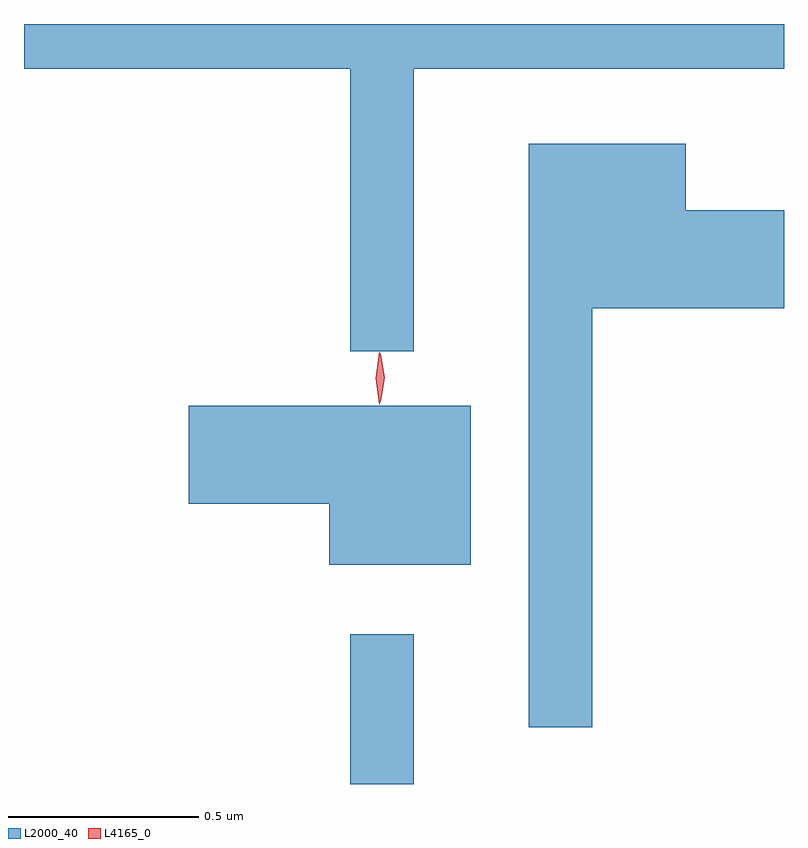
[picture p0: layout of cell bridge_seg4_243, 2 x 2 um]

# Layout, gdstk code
import gdstk
lib = gdstk.Library(unit=1e-6, precision=1e-09)
def R(c, l, rs):  # rectangles x0, y0, x1, y1
    for r in rs: c.add(gdstk.rectangle(r[:2], r[2:], *l))
def P(c, l, *ps):  # polygons
    for p in ps: c.add(gdstk.Polygon(p, *l))
L2000_40 = (2000, 40)
L4165_0 = (4165, 0)

bridge_seg4_243 = lib.new_cell('bridge_seg4_243')
R(bridge_seg4_243, L2000_40, [(742.601,1379.434,742.769,1379.828)])
P(bridge_seg4_243, L2000_40, [(742.769,1381.316),(743.743,1381.316),(743.743,1381.434),(741.743,1381.434),(741.743,1381.316),(742.601,1381.316),(742.601,1380.573),(742.769,1380.573)],
  [(743.239,1380.686),(743.743,1380.686),(743.743,1380.944),(743.484,1380.944),(743.484,1381.119),(743.071,1381.119),(743.071,1379.583),(743.239,1379.583)],
  [(742.919,1380.429),(742.176,1380.429),(742.176,1380.171),(742.546,1380.171),(742.546,1380.011),(742.919,1380.011)])
P(bridge_seg4_243, L4165_0, [(742.678,1380.434),(742.678,1380.434),(742.669,1380.502),(742.678,1380.57),(742.679,1380.57),(742.679,1380.57),(742.689,1380.502),(742.679,1380.434)],
  [(742.682,1380.44),(742.682,1380.44),(742.672,1380.503),(742.682,1380.566),(742.682,1380.567),(742.682,1380.566),(742.692,1380.503),(742.682,1380.44)])

lib.write_gds('bridge_seg4_243.gds')
